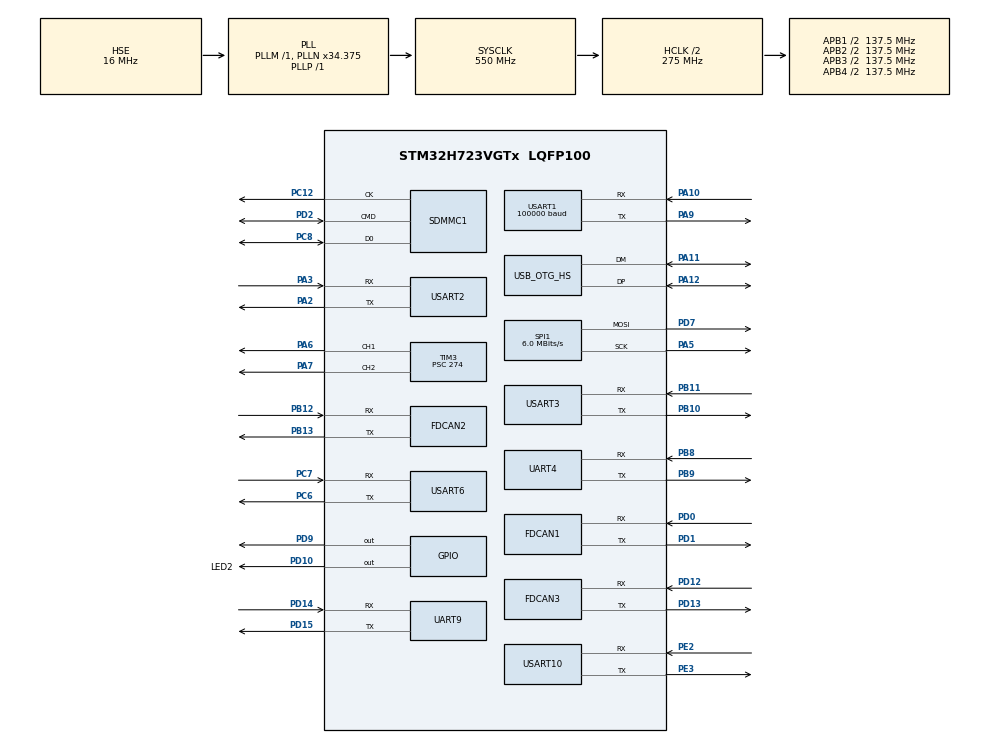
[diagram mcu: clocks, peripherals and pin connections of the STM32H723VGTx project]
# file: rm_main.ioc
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CORTEX_M7.AccessPermission-Cortex_Memory_Protection_Unit_Region0_Settings=MPU_REGION_FULL_ACCESS
CORTEX_M7.BaseAddress-Cortex_Memory_Protection_Unit_Region0_Settings=0x24000000
CORTEX_M7.CPU_DCache=Disabled
CORTEX_M7.CPU_ICache=Disabled
CORTEX_M7.Enable-Cortex_Memory_Protection_Unit_Region0_Settings=MPU_REGION_ENABLE
CORTEX_M7.IsBufferable-Cortex_Memory_Protection_Unit_Region0_Settings=MPU_ACCESS_NOT_BUFFERABLE
CORTEX_M7.IsCacheable-Cortex_Memory_Protection_Unit_Region0_Settings=MPU_ACCESS_CACHEABLE
CORTEX_M7.MPU_Control=__NULL
CORTEX_M7.Size-Cortex_Memory_Protection_Unit_Region0_Settings=MPU_REGION_SIZE_512KB
CORTEX_M7.TypeExtField-Cortex_Memory_Protection_Unit_Region0_Settings=MPU_TEX_LEVEL1
Dma.Request0=USART2_RX
Dma.Request1=USART2_TX
Dma.Request10=USART3_TX
Dma.Request11=UART4_RX
Dma.Request12=UART4_TX
Dma.Request2=USART1_RX
Dma.Request3=USART1_TX
Dma.Request4=USART10_RX
Dma.Request5=USART10_TX
Dma.Request6=SPI1_TX
Dma.Request7=UART9_RX
Dma.Request8=UART9_TX
Dma.Request9=USART3_RX
Dma.SPI1_TX.6.Direction=DMA_MEMORY_TO_PERIPH
Dma.SPI1_TX.6.EventEnable=DISABLE
Dma.SPI1_TX.6.FIFOMode=DMA_FIFOMODE_DISABLE
Dma.SPI1_TX.6.Instance=DMA2_Stream2
Dma.SPI1_TX.6.MemDataAlignment=DMA_MDATAALIGN_BYTE
Dma.SPI1_TX.6.MemInc=DMA_MINC_ENABLE
Dma.SPI1_TX.6.Mode=DMA_NORMAL
Dma.SPI1_TX.6.PeriphDataAlignment=DMA_PDATAALIGN_BYTE
Dma.SPI1_TX.6.PeriphInc=DMA_PINC_DISABLE
Dma.SPI1_TX.6.Polarity=HAL_DMAMUX_REQ_GEN_RISING
Dma.SPI1_TX.6.Priority=DMA_PRIORITY_LOW
Dma.SPI1_TX.6.RequestNumber=1
Dma.SPI1_TX.6.SignalID=NONE
Dma.SPI1_TX.6.SyncEnable=DISABLE
Dma.SPI1_TX.6.SyncPolarity=HAL_DMAMUX_SYNC_NO_EVENT
Dma.SPI1_TX.6.SyncRequestNumber=1
Dma.SPI1_TX.6.SyncSignalID=NONE
Dma.UART4_RX.11.Direction=DMA_PERIPH_TO_MEMORY
Dma.UART4_RX.11.EventEnable=DISABLE
Dma.UART4_RX.11.FIFOMode=DMA_FIFOMODE_DISABLE
Dma.UART4_RX.11.Instance=DMA2_Stream3
Dma.UART4_RX.11.MemDataAlignment=DMA_MDATAALIGN_BYTE
Dma.UART4_RX.11.MemInc=DMA_MINC_ENABLE
Dma.UART4_RX.11.Mode=DMA_NORMAL
Dma.UART4_RX.11.PeriphDataAlignment=DMA_PDATAALIGN_BYTE
Dma.UART4_RX.11.PeriphInc=DMA_PINC_DISABLE
Dma.UART4_RX.11.Polarity=HAL_DMAMUX_REQ_GEN_RISING
Dma.UART4_RX.11.Priority=DMA_PRIORITY_LOW
Dma.UART4_RX.11.RequestNumber=1
Dma.UART4_RX.11.SignalID=NONE
Dma.UART4_RX.11.SyncEnable=DISABLE
Dma.UART4_RX.11.SyncPolarity=HAL_DMAMUX_SYNC_NO_EVENT
Dma.UART4_RX.11.SyncRequestNumber=1
Dma.UART4_RX.11.SyncSignalID=NONE
Dma.UART4_TX.12.Direction=DMA_MEMORY_TO_PERIPH
Dma.UART4_TX.12.EventEnable=DISABLE
Dma.UART4_TX.12.FIFOMode=DMA_FIFOMODE_DISABLE
Dma.UART4_TX.12.Instance=DMA2_Stream4
Dma.UART4_TX.12.MemDataAlignment=DMA_MDATAALIGN_BYTE
Dma.UART4_TX.12.MemInc=DMA_MINC_ENABLE
Dma.UART4_TX.12.Mode=DMA_NORMAL
Dma.UART4_TX.12.PeriphDataAlignment=DMA_PDATAALIGN_BYTE
Dma.UART4_TX.12.PeriphInc=DMA_PINC_DISABLE
Dma.UART4_TX.12.Polarity=HAL_DMAMUX_REQ_GEN_RISING
Dma.UART4_TX.12.Priority=DMA_PRIORITY_LOW
Dma.UART4_TX.12.RequestNumber=1
Dma.UART4_TX.12.SignalID=NONE
Dma.UART4_TX.12.SyncEnable=DISABLE
Dma.UART4_TX.12.SyncPolarity=HAL_DMAMUX_SYNC_NO_EVENT
Dma.UART4_TX.12.SyncRequestNumber=1
Dma.UART4_TX.12.SyncSignalID=NONE
Dma.UART9_RX.7.Direction=DMA_PERIPH_TO_MEMORY
Dma.UART9_RX.7.EventEnable=DISABLE
Dma.UART9_RX.7.FIFOMode=DMA_FIFOMODE_DISABLE
Dma.UART9_RX.7.Instance=DMA2_Stream5
Dma.UART9_RX.7.MemDataAlignment=DMA_MDATAALIGN_BYTE
Dma.UART9_RX.7.MemInc=DMA_MINC_ENABLE
Dma.UART9_RX.7.Mode=DMA_NORMAL
Dma.UART9_RX.7.PeriphDataAlignment=DMA_PDATAALIGN_BYTE
Dma.UART9_RX.7.PeriphInc=DMA_PINC_DISABLE
Dma.UART9_RX.7.Polarity=HAL_DMAMUX_REQ_GEN_RISING
Dma.UART9_RX.7.Priority=DMA_PRIORITY_LOW
Dma.UART9_RX.7.RequestNumber=1
Dma.UART9_RX.7.SignalID=NONE
Dma.UART9_RX.7.SyncEnable=DISABLE
Dma.UART9_RX.7.SyncPolarity=HAL_DMAMUX_SYNC_NO_EVENT
Dma.UART9_RX.7.SyncRequestNumber=1
Dma.UART9_RX.7.SyncSignalID=NONE
Dma.UART9_TX.8.Direction=DMA_MEMORY_TO_PERIPH
Dma.UART9_TX.8.EventEnable=DISABLE
Dma.UART9_TX.8.FIFOMode=DMA_FIFOMODE_DISABLE
Dma.UART9_TX.8.Instance=DMA2_Stream6
Dma.UART9_TX.8.MemDataAlignment=DMA_MDATAALIGN_BYTE
Dma.UART9_TX.8.MemInc=DMA_MINC_ENABLE
Dma.UART9_TX.8.Mode=DMA_NORMAL
Dma.UART9_TX.8.PeriphDataAlignment=DMA_PDATAALIGN_BYTE
Dma.UART9_TX.8.PeriphInc=DMA_PINC_DISABLE
Dma.UART9_TX.8.Polarity=HAL_DMAMUX_REQ_GEN_RISING
Dma.UART9_TX.8.Priority=DMA_PRIORITY_LOW
Dma.UART9_TX.8.RequestNumber=1
Dma.UART9_TX.8.SignalID=NONE
Dma.UART9_TX.8.SyncEnable=DISABLE
Dma.UART9_TX.8.SyncPolarity=HAL_DMAMUX_SYNC_NO_EVENT
Dma.UART9_TX.8.SyncRequestNumber=1
Dma.UART9_TX.8.SyncSignalID=NONE
Dma.USART10_RX.4.Direction=DMA_PERIPH_TO_MEMORY
Dma.USART10_RX.4.EventEnable=DISABLE
Dma.USART10_RX.4.FIFOMode=DMA_FIFOMODE_DISABLE
Dma.USART10_RX.4.Instance=DMA2_Stream0
Dma.USART10_RX.4.MemDataAlignment=DMA_MDATAALIGN_BYTE
Dma.USART10_RX.4.MemInc=DMA_MINC_ENABLE
Dma.USART10_RX.4.Mode=DMA_CIRCULAR
Dma.USART10_RX.4.PeriphDataAlignment=DMA_PDATAALIGN_BYTE
Dma.USART10_RX.4.PeriphInc=DMA_PINC_DISABLE
Dma.USART10_RX.4.Polarity=HAL_DMAMUX_REQ_GEN_RISING
Dma.USART10_RX.4.Priority=DMA_PRIORITY_LOW
Dma.USART10_RX.4.RequestNumber=1
Dma.USART10_RX.4.SignalID=NONE
Dma.USART10_RX.4.SyncEnable=DISABLE
Dma.USART10_RX.4.SyncPolarity=HAL_DMAMUX_SYNC_NO_EVENT
Dma.USART10_RX.4.SyncRequestNumber=1
Dma.USART10_RX.4.SyncSignalID=NONE
Dma.USART10_TX.5.Direction=DMA_MEMORY_TO_PERIPH
Dma.USART10_TX.5.EventEnable=DISABLE
Dma.USART10_TX.5.FIFOMode=DMA_FIFOMODE_DISABLE
Dma.USART10_TX.5.Instance=DMA2_Stream1
Dma.USART10_TX.5.MemDataAlignment=DMA_MDATAALIGN_BYTE
Dma.USART10_TX.5.MemInc=DMA_MINC_ENABLE
Dma.USART10_TX.5.Mode=DMA_NORMAL
Dma.USART10_TX.5.PeriphDataAlignment=DMA_PDATAALIGN_BYTE
Dma.USART10_TX.5.PeriphInc=DMA_PINC_DISABLE
Dma.USART10_TX.5.Polarity=HAL_DMAMUX_REQ_GEN_RISING
Dma.USART10_TX.5.Priority=DMA_PRIORITY_LOW
Dma.USART10_TX.5.RequestNumber=1
Dma.USART10_TX.5.SignalID=NONE
Dma.USART10_TX.5.SyncEnable=DISABLE
Dma.USART10_TX.5.SyncPolarity=HAL_DMAMUX_SYNC_NO_EVENT
Dma.USART10_TX.5.SyncRequestNumber=1
Dma.USART10_TX.5.SyncSignalID=NONE
Dma.USART1_RX.2.Direction=DMA_PERIPH_TO_MEMORY
Dma.USART1_RX.2.EventEnable=DISABLE
Dma.USART1_RX.2.FIFOMode=DMA_FIFOMODE_DISABLE
Dma.USART1_RX.2.Instance=DMA1_Stream2
Dma.USART1_RX.2.MemDataAlignment=DMA_MDATAALIGN_BYTE
Dma.USART1_RX.2.MemInc=DMA_MINC_ENABLE
Dma.USART1_RX.2.Mode=DMA_CIRCULAR
Dma.USART1_RX.2.PeriphDataAlignment=DMA_PDATAALIGN_BYTE
Dma.USART1_RX.2.PeriphInc=DMA_PINC_DISABLE
Dma.USART1_RX.2.Polarity=HAL_DMAMUX_REQ_GEN_RISING
Dma.USART1_RX.2.Priority=DMA_PRIORITY_LOW
Dma.USART1_RX.2.RequestNumber=1
Dma.USART1_RX.2.SignalID=NONE
Dma.USART1_RX.2.SyncEnable=DISABLE
Dma.USART1_RX.2.SyncPolarity=HAL_DMAMUX_SYNC_NO_EVENT
Dma.USART1_RX.2.SyncRequestNumber=1
Dma.USART1_RX.2.SyncSignalID=NONE
Dma.USART1_TX.3.Direction=DMA_MEMORY_TO_PERIPH
Dma.USART1_TX.3.EventEnable=DISABLE
Dma.USART1_TX.3.FIFOMode=DMA_FIFOMODE_DISABLE
Dma.USART1_TX.3.Instance=DMA1_Stream3
Dma.USART1_TX.3.MemDataAlignment=DMA_MDATAALIGN_BYTE
Dma.USART1_TX.3.MemInc=DMA_MINC_ENABLE
Dma.USART1_TX.3.Mode=DMA_NORMAL
Dma.USART1_TX.3.PeriphDataAlignment=DMA_PDATAALIGN_BYTE
Dma.USART1_TX.3.PeriphInc=DMA_PINC_DISABLE
Dma.USART1_TX.3.Polarity=HAL_DMAMUX_REQ_GEN_RISING
Dma.USART1_TX.3.Priority=DMA_PRIORITY_LOW
Dma.USART1_TX.3.RequestNumber=1
Dma.USART1_TX.3.SignalID=NONE
Dma.USART1_TX.3.SyncEnable=DISABLE
Dma.USART1_TX.3.SyncPolarity=HAL_DMAMUX_SYNC_NO_EVENT
Dma.USART1_TX.3.SyncRequestNumber=1
Dma.USART1_TX.3.SyncSignalID=NONE
Dma.USART2_RX.0.Direction=DMA_PERIPH_TO_MEMORY
Dma.USART2_RX.0.EventEnable=DISABLE
Dma.USART2_RX.0.FIFOMode=DMA_FIFOMODE_DISABLE
Dma.USART2_RX.0.Instance=DMA1_Stream0
Dma.USART2_RX.0.MemDataAlignment=DMA_MDATAALIGN_BYTE
Dma.USART2_RX.0.MemInc=DMA_MINC_ENABLE
Dma.USART2_RX.0.Mode=DMA_CIRCULAR
Dma.USART2_RX.0.PeriphDataAlignment=DMA_PDATAALIGN_BYTE
Dma.USART2_RX.0.PeriphInc=DMA_PINC_DISABLE
Dma.USART2_RX.0.Polarity=HAL_DMAMUX_REQ_GEN_RISING
Dma.USART2_RX.0.Priority=DMA_PRIORITY_LOW
Dma.USART2_RX.0.RequestNumber=1
Dma.USART2_RX.0.SignalID=NONE
Dma.USART2_RX.0.SyncEnable=DISABLE
Dma.USART2_RX.0.SyncPolarity=HAL_DMAMUX_SYNC_NO_EVENT
Dma.USART2_RX.0.SyncRequestNumber=1
Dma.USART2_RX.0.SyncSignalID=NONE
Dma.USART2_TX.1.Direction=DMA_MEMORY_TO_PERIPH
Dma.USART2_TX.1.EventEnable=DISABLE
Dma.USART2_TX.1.FIFOMode=DMA_FIFOMODE_DISABLE
Dma.USART2_TX.1.Instance=DMA1_Stream1
Dma.USART2_TX.1.MemDataAlignment=DMA_MDATAALIGN_BYTE
Dma.USART2_TX.1.MemInc=DMA_MINC_ENABLE
Dma.USART2_TX.1.Mode=DMA_NORMAL
Dma.USART2_TX.1.PeriphDataAlignment=DMA_PDATAALIGN_BYTE
Dma.USART2_TX.1.PeriphInc=DMA_PINC_DISABLE
Dma.USART2_TX.1.Polarity=HAL_DMAMUX_REQ_GEN_RISING
Dma.USART2_TX.1.Priority=DMA_PRIORITY_LOW
Dma.USART2_TX.1.RequestNumber=1
Dma.USART2_TX.1.SignalID=NONE
Dma.USART2_TX.1.SyncEnable=DISABLE
Dma.USART2_TX.1.SyncPolarity=HAL_DMAMUX_SYNC_NO_EVENT
Dma.USART2_TX.1.SyncRequestNumber=1
Dma.USART2_TX.1.SyncSignalID=NONE
Dma.USART3_RX.9.Direction=DMA_PERIPH_TO_MEMORY
Dma.USART3_RX.9.EventEnable=DISABLE
Dma.USART3_RX.9.FIFOMode=DMA_FIFOMODE_DISABLE
Dma.USART3_RX.9.Instance=DMA1_Stream5
Dma.USART3_RX.9.MemDataAlignment=DMA_MDATAALIGN_BYTE
Dma.USART3_RX.9.MemInc=DMA_MINC_ENABLE
Dma.USART3_RX.9.Mode=DMA_NORMAL
Dma.USART3_RX.9.PeriphDataAlignment=DMA_PDATAALIGN_BYTE
Dma.USART3_RX.9.PeriphInc=DMA_PINC_DISABLE
Dma.USART3_RX.9.Polarity=HAL_DMAMUX_REQ_GEN_RISING
Dma.USART3_RX.9.Priority=DMA_PRIORITY_LOW
Dma.USART3_RX.9.RequestNumber=1
Dma.USART3_RX.9.SignalID=NONE
Dma.USART3_RX.9.SyncEnable=DISABLE
Dma.USART3_RX.9.SyncPolarity=HAL_DMAMUX_SYNC_NO_EVENT
Dma.USART3_RX.9.SyncRequestNumber=1
Dma.USART3_RX.9.SyncSignalID=NONE
Dma.USART3_TX.10.Direction=DMA_MEMORY_TO_PERIPH
Dma.USART3_TX.10.EventEnable=DISABLE
Dma.USART3_TX.10.FIFOMode=DMA_FIFOMODE_DISABLE
Dma.USART3_TX.10.Instance=DMA1_Stream6
Dma.USART3_TX.10.MemDataAlignment=DMA_MDATAALIGN_BYTE
Dma.USART3_TX.10.MemInc=DMA_MINC_ENABLE
Dma.USART3_TX.10.Mode=DMA_NORMAL
Dma.USART3_TX.10.PeriphDataAlignment=DMA_PDATAALIGN_BYTE
Dma.USART3_TX.10.PeriphInc=DMA_PINC_DISABLE
Dma.USART3_TX.10.Polarity=HAL_DMAMUX_REQ_GEN_RISING
Dma.USART3_TX.10.Priority=DMA_PRIORITY_LOW
Dma.USART3_TX.10.RequestNumber=1
Dma.USART3_TX.10.SignalID=NONE
Dma.USART3_TX.10.SyncEnable=DISABLE
Dma.USART3_TX.10.SyncPolarity=HAL_DMAMUX_SYNC_NO_EVENT
Dma.USART3_TX.10.SyncRequestNumber=1
Dma.USART3_TX.10.SyncSignalID=NONE
FATFS._CODE_PAGE=437
FATFS._USE_LFN=3
FDCAN1.AutoRetransmission=ENABLE
FDCAN1.CalculateBaudRateNominal=1000000
FDCAN1.CalculateTimeBitNominal=1000
FDCAN1.CalculateTimeQuantumNominal=83.33333333333333
FDCAN1.DataSyncJumpWidth=1
FDCAN1.DataTimeSeg1=13
FDCAN1.DataTimeSeg2=2
FDCAN1.Mode=FDCAN_MODE_NORMAL
FDCAN1.NominalPrescaler=8
FDCAN1.NominalSyncJumpWidth=1
FDCAN1.NominalTimeSeg1=8
FDCAN1.NominalTimeSeg2=3
FDCAN1.ProtocolException=ENABLE
FDCAN1.RxFifo0ElmtsNbr=64
FDCAN1.RxFifo1ElmtsNbr=64
FDCAN1.StdFiltersNbr=5
FDCAN1.TxFifoQueueElmtsNbr=32
FDCAN2.AutoRetransmission=ENABLE
FDCAN2.CalculateBaudRateNominal=1000000
FDCAN2.CalculateTimeBitNominal=1000
FDCAN2.CalculateTimeQuantumNominal=83.33333333333333
FDCAN2.ClockCalibrationCCU=DISABLE
FDCAN2.DataPrescaler=4
FDCAN2.DataTimeSeg1=8
FDCAN2.DataTimeSeg2=3
FDCAN2.FrameFormat=FDCAN_FRAME_FD_BRS
FDCAN2.MessageRAMOffset=850
FDCAN2.NominalPrescaler=8
FDCAN2.NominalTimeSeg1=8
FDCAN2.NominalTimeSeg2=3
FDCAN2.ProtocolException=ENABLE
FDCAN2.RxBufferSize=FDCAN_DATA_BYTES_64
FDCAN2.RxFifo0ElmtSize=FDCAN_DATA_BYTES_64
FDCAN2.RxFifo0ElmtsNbr=8
FDCAN2.RxFifo1ElmtSize=FDCAN_DATA_BYTES_64
FDCAN2.RxFifo1ElmtsNbr=8
FDCAN2.StdFiltersNbr=5
FDCAN2.TxElmtSize=FDCAN_DATA_BYTES_64
FDCAN2.TxFifoQueueElmtsNbr=4
FDCAN3.AutoRetransmission=DISABLE
FDCAN3.CalculateBaudRateNominal=1000000
FDCAN3.CalculateTimeBitNominal=1000
FDCAN3.CalculateTimeQuantumNominal=83.33333333333333
FDCAN3.DataPrescaler=4
FDCAN3.DataTimeSeg1=8
FDCAN3.DataTimeSeg2=3
FDCAN3.FrameFormat=FDCAN_FRAME_CLASSIC
FDCAN3.MessageRAMOffset=1700
FDCAN3.Mode=FDCAN_MODE_NORMAL
FDCAN3.NominalPrescaler=8
FDCAN3.NominalTimeSeg1=8
FDCAN3.NominalTimeSeg2=3
FDCAN3.ProtocolException=ENABLE
FDCAN3.RxBufferSize=FDCAN_DATA_BYTES_8
FDCAN3.RxFifo0ElmtSize=FDCAN_DATA_BYTES_8
FDCAN3.RxFifo0ElmtsNbr=64
FDCAN3.RxFifo1ElmtSize=FDCAN_DATA_BYTES_8
FDCAN3.RxFifo1ElmtsNbr=64
FDCAN3.StdFiltersNbr=5
FDCAN3.TxElmtSize=FDCAN_DATA_BYTES_8
FDCAN3.TxFifoQueueElmtsNbr=32
FREERTOS.INCLUDE_vTaskDelayUntil=1
FREERTOS.Tasks01=StartTask,-2,128,start_task,As weak,NULL,Dynamic,NULL,NULL
FREERTOS.configENABLE_FPU=0
FREERTOS.configRECORD_STACK_HIGH_ADDRESS=1
FREERTOS.configTOTAL_HEAP_SIZE=30720
FREERTOS.configUSE_PREEMPTION=1
FREERTOS.configUSE_TIMERS=1
IWDG1.Prescaler=IWDG_PRESCALER_32
IWDG1.Reload=500
IWDG1.Window=4095
Mcu.Family=STM32H7
Mcu.Name=STM32H723VGTx
Mcu.Package=LQFP100
NVIC.DMA1_Stream0_IRQn=true\:5\:0\:false\:false\:true\:true\:false\:true\:true
NVIC.DMA1_Stream1_IRQn=true\:5\:0\:false\:false\:true\:true\:false\:true\:true
NVIC.DMA1_Stream2_IRQn=true\:5\:0\:false\:false\:true\:true\:false\:true\:true
NVIC.DMA1_Stream3_IRQn=true\:5\:0\:false\:false\:true\:true\:false\:true\:true
NVIC.DMA1_Stream5_IRQn=true\:5\:0\:false\:false\:true\:true\:false\:true\:true
NVIC.DMA1_Stream6_IRQn=true\:5\:0\:false\:false\:true\:true\:false\:true\:true
NVIC.DMA2_Stream0_IRQn=true\:5\:0\:false\:false\:true\:true\:false\:true\:true
NVIC.DMA2_Stream1_IRQn=true\:5\:0\:false\:false\:true\:true\:false\:true\:true
NVIC.DMA2_Stream2_IRQn=true\:5\:0\:false\:false\:true\:true\:false\:true\:true
NVIC.DMA2_Stream3_IRQn=true\:5\:0\:false\:false\:true\:true\:false\:true\:true
NVIC.DMA2_Stream4_IRQn=true\:5\:0\:false\:false\:true\:true\:false\:true\:true
NVIC.DMA2_Stream5_IRQn=true\:5\:0\:false\:false\:true\:true\:false\:true\:true
NVIC.DMA2_Stream6_IRQn=true\:5\:0\:false\:false\:true\:true\:false\:true\:true
NVIC.FDCAN1_IT0_IRQn=true\:5\:0\:false\:false\:true\:true\:true\:true\:true
NVIC.FDCAN2_IT0_IRQn=true\:5\:0\:false\:false\:true\:true\:true\:true\:true
NVIC.FDCAN3_IT0_IRQn=true\:5\:0\:false\:false\:true\:true\:true\:true\:true
NVIC.OTG_HS_EP1_IN_IRQn=true\:5\:0\:false\:false\:true\:true\:true\:true\:true
NVIC.OTG_HS_EP1_OUT_IRQn=true\:5\:0\:false\:false\:true\:true\:true\:true\:true
NVIC.OTG_HS_IRQn=true\:5\:0\:false\:false\:true\:true\:true\:true\:true
NVIC.PriorityGroup=NVIC_PRIORITYGROUP_4
NVIC.SDMMC1_IRQn=true\:5\:0\:false\:false\:true\:true\:true\:true\:true
NVIC.SPI1_IRQn=true\:5\:0\:false\:false\:true\:true\:false\:true\:true
NVIC.TIM1_UP_IRQn=true\:15\:0\:false\:false\:true\:false\:false\:true\:true
NVIC.TIM2_IRQn=true\:5\:0\:false\:false\:true\:true\:true\:true\:true
NVIC.TimeBase=TIM1_UP_IRQn
NVIC.TimeBaseIP=TIM1
NVIC.UART4_IRQn=true\:5\:0\:false\:false\:true\:true\:true\:true\:true
NVIC.UART9_IRQn=true\:5\:0\:false\:false\:true\:true\:true\:true\:true
NVIC.USART10_IRQn=true\:5\:0\:false\:false\:true\:true\:true\:true\:true
NVIC.USART1_IRQn=true\:5\:0\:false\:false\:true\:true\:true\:true\:true
NVIC.USART2_IRQn=true\:5\:0\:false\:false\:true\:true\:true\:true\:true
NVIC.USART3_IRQn=true\:5\:0\:false\:false\:true\:true\:true\:true\:true
PA10.Mode=Asynchronous
PA10.Signal=USART1_RX
PA11.Mode=Device_Only_FS
PA11.Signal=USB_OTG_HS_DM
PA12.Mode=Device_Only_FS
PA12.Signal=USB_OTG_HS_DP
PA13(JTMS/SWDIO).Mode=Serial_Wire
PA13(JTMS/SWDIO).Signal=DEBUG_JTMS-SWDIO
PA14(JTCK/SWCLK).Mode=Serial_Wire
PA14(JTCK/SWCLK).Signal=DEBUG_JTCK-SWCLK
PA2.Mode=Asynchronous
PA2.Signal=USART2_TX
PA3.Mode=Asynchronous
PA3.Signal=USART2_RX
PA5.Mode=TX_Only_Simplex_Unidirect_Master
PA5.Signal=SPI1_SCK
PA6.Signal=S_TIM3_CH1
PA7.Signal=S_TIM3_CH2
PA9.Mode=Asynchronous
PA9.Signal=USART1_TX
PB10.Mode=Asynchronous
PB10.Signal=USART3_TX
PB11.Mode=Asynchronous
PB11.Signal=USART3_RX
PB12.Mode=FDCAN_Activate
PB12.Signal=FDCAN2_RX
PB13.Mode=FDCAN_Activate
PB13.Signal=FDCAN2_TX
PB8.Mode=Asynchronous
PB8.Signal=UART4_RX
PB9.Mode=Asynchronous
PB9.Signal=UART4_TX
PC12.Mode=SD_1_bit
PC12.Signal=SDMMC1_CK
PC6.Mode=Asynchronous
PC6.Signal=USART6_TX
PC7.Mode=Asynchronous
PC7.Signal=USART6_RX
PC8.Mode=SD_1_bit
PC8.Signal=SDMMC1_D0
PD0.Mode=FDCAN_Activate
PD0.Signal=FDCAN1_RX
PD1.Mode=FDCAN_Activate
PD1.Signal=FDCAN1_TX
PD10.GPIO_Label=LED2
PD10.Signal=GPIO_Output
PD12.Mode=FDCAN_Activate
PD12.Signal=FDCAN3_RX
PD13.Mode=FDCAN_Activate
PD13.Signal=FDCAN3_TX
PD14.Mode=Asynchronous
PD14.Signal=UART9_RX
PD15.Mode=Asynchronous
PD15.Signal=UART9_TX
PD2.Mode=SD_1_bit
PD2.Signal=SDMMC1_CMD
PD7.Mode=TX_Only_Simplex_Unidirect_Master
PD7.Signal=SPI1_MOSI
PD9.Signal=GPIO_Output
PE2.Mode=Asynchronous
PE2.Signal=USART10_RX
PE3.Mode=Asynchronous
PE3.Signal=USART10_TX
PH0-OSC_IN.Mode=HSE-External-Oscillator
PH0-OSC_IN.Signal=RCC_OSC_IN
PH1-OSC_OUT.Mode=HSE-External-Oscillator
PH1-OSC_OUT.Signal=RCC_OSC_OUT
ProjectManager.HeapSize=0x3000
ProjectManager.StackSize=0x3000
ProjectManager.TargetToolchain=MDK-ARM V5.27
RCC.ADCFreq_Value=96000000
RCC.APB1Freq_Value=137500000
RCC.APB2Freq_Value=137500000
RCC.APB3Freq_Value=137500000
RCC.APB4Freq_Value=137500000
RCC.CortexFreq_Value=550000000
RCC.D1PPRE=RCC_APB3_DIV2
RCC.D2PPRE1=RCC_APB1_DIV2
RCC.D2PPRE2=RCC_APB2_DIV2
RCC.D3PPRE=RCC_APB4_DIV2
RCC.DIVM1=1
RCC.DIVM2=1
RCC.DIVN1=34
RCC.DIVN2=12
RCC.DIVP1=1
RCC.DIVQ1=55
RCC.DIVR1=1
RCC.EnbaleCSS=true
RCC.FDCANCLockSelection=RCC_FDCANCLKSOURCE_PLL2
RCC.HCLKFreq_Value=275000000
RCC.HPRE=RCC_HCLK_DIV2
RCC.HSE_VALUE=16000000
RCC.PLL2FRACN=0
RCC.PLL3FRACN=0
RCC.PLLFRACN=3072
RCC.PLLSourceVirtual=RCC_PLLSOURCE_HSE
RCC.RTCClockSelection=RCC_RTCCLKSOURCE_LSE
RCC.SDMMC1CLockSelection=RCC_SDMMCCLKSOURCE_PLL2
RCC.SPI123CLockSelection=RCC_SPI123CLKSOURCE_PLL2
RCC.SYSCLKFreq_VALUE=550000000
RCC.SYSCLKSource=RCC_SYSCLKSOURCE_PLLCLK
RCC.USBCLockSelection=RCC_USBCLKSOURCE_HSI48
RCC.USBFreq_Value=48000000
SDMMC1.ClockDiv=1
SDMMC1.HardwareFlowControl=SDMMC_HARDWARE_FLOW_CONTROL_DISABLE
SH.S_TIM3_CH1.0=TIM3_CH1,PWM Generation1 CH1
SH.S_TIM3_CH2.0=TIM3_CH2,PWM Generation2 CH2
SPI1.BaudRatePrescaler=SPI_BAUDRATEPRESCALER_16
SPI1.CLKPhase=SPI_PHASE_2EDGE
SPI1.CalculateBaudRate=6.0 MBits/s
SPI1.DataSize=SPI_DATASIZE_8BIT
SPI1.Direction=SPI_DIRECTION_2LINES_TXONLY
SPI1.Mode=SPI_MODE_MASTER
SPI1.VirtualType=VM_MASTER
TIM2.Period=0xFFFFFFFF
TIM2.Prescaler=10
TIM3.Channel-PWM\ Generation1\ CH1=TIM_CHANNEL_1
TIM3.Channel-PWM\ Generation2\ CH2=TIM_CHANNEL_2
TIM3.Period=19999
TIM3.Prescaler=274
USART1.BaudRate=100000
USART1.Parity=PARITY_EVEN
USART1.VirtualMode-Asynchronous=VM_ASYNC
USART1.WordLength=WORDLENGTH_9B
USART10.VirtualMode=VM_ASYNC
USART2.AutoBaudRateEnableParam=UART_ADVFEATURE_AUTOBAUDRATE_DISABLE
USART2.VirtualMode-Asynchronous=VM_ASYNC
USART3.VirtualMode-Asynchronous=VM_ASYNC
USART6.VirtualMode=VM_ASYNC
USB_DEVICE.APP_RX_DATA_SIZE=2048
USB_DEVICE.APP_TX_DATA_SIZE=2048
USB_DEVICE.CLASS_NAME_HS=CDC
USB_DEVICE.USBD_DEBUG_LEVEL=0
USB_DEVICE.USBD_LPM_ENABLED=1
USB_DEVICE.USBD_SELF_POWERED=1
USB_DEVICE.VirtualMode=Cdc
USB_DEVICE.VirtualModeHS=Cdc_HS
USB_OTG_HS.VirtualMode-Device_Only_FS=Device_Only_FS
USB_OTG_HS.dma_enable-Device_Only_FS=ENABLE
USB_OTG_HS.lpm_enable-Device_Only_FS=DISABLE
VP_FATFS_VS_SDIO.Mode=SDIO
VP_FREERTOS_VS_CMSIS_V1.Mode=CMSIS_V1
VP_IWDG1_VS_IWDG.Mode=IWDG_Activate
VP_MEMORYMAP_VS_MEMORYMAP.Mode=CurAppReg
VP_RNG_VS_RNG.Mode=RNG_Activate
VP_SYS_VS_tim1.Mode=TIM1
VP_TIM2_VS_ClockSourceINT.Mode=Internal
VP_USB_DEVICE_VS_USB_DEVICE_CDC_HS.Mode=CDC_HS
board=custom

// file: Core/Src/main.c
/* USER CODE BEGIN Header */
/**
  ******************************************************************************
  * @file           : main.c
  * @brief          : Main program body
  ******************************************************************************
  * @attention
  *
  * <h2><center>&copy; Copyright (c) 2024 STMicroelectronics.
  * All rights reserved.</center></h2>
  *
  * This software component is licensed by ST under Ultimate Liberty license
  * SLA0044, the "License"; You may not use this file except in compliance with
  * the License. You may obtain a copy of the License at:
  *                             www.st.com/SLA0044
  *
  ******************************************************************************
  */
/* USER CODE END Header */
#include "main.h"
#include "cmsis_os.h"
#include "dma.h"
#include "fatfs.h"
#include "fdcan.h"
#include "rng.h"
#include "sdmmc.h"
#include "spi.h"
#include "tim.h"
#include "usart.h"
#include "usb_device.h"
#include "gpio.h"

/* USER CODE BEGIN Includes */
#include "us_time.h"
#include "data_log.h"
#include "can_comm.h"
#include "usart_comm.h"
#include "container.h"
/* USER CODE END Includes */

/* USER CODE BEGIN PM */
uint32_t cnt;
/* USER CODE END PM */

void SystemClock_Config(void);
void PeriphCommonClock_Config(void);
void MX_FREERTOS_Init(void);
/* USER CODE BEGIN PFP */
void USB_Reset(void);

/* USER CODE END PFP */

int main(void)
{

  /* MCU Configuration--------------------------------------------------------*/

  /* Reset of all peripherals, Initializes the Flash interface and the Systick. */
  HAL_Init();

  /* Configure the system clock */
  SystemClock_Config();

  /* Configure the peripherals common clocks */
  PeriphCommonClock_Config();

  /* USER CODE BEGIN SysInit */
  USB_Reset();//USB复位，让电脑重新识别
  HAL_Delay(100);
  /* USER CODE END SysInit */

  /* Initialize all configured peripherals */
  MX_GPIO_Init();
  MX_DMA_Init();
  MX_USART2_UART_Init();
  MX_USART1_UART_Init();
  MX_RNG_Init();
  MX_TIM2_Init();
  MX_FDCAN3_Init();
  MX_UART9_Init();
  MX_USART6_UART_Init();
  MX_USART10_UART_Init();
  MX_FDCAN1_Init();
  MX_FDCAN2_Init();
  MX_TIM3_Init();
  MX_SPI1_Init();
  MX_USART3_UART_Init();
  MX_UART4_Init();
  MX_SDMMC1_SD_Init();
  MX_FATFS_Init();
  /* USER CODE BEGIN 2 */
  HAL_Delay(300);
  us_timer_start();
  usart_comm_init();
//  can_comm_init();
  HAL_Delay(300);

  container_sys_init();
  /* USER CODE END 2 */

  /* Call init function for freertos objects (in cmsis_os2.c) */
  MX_FREERTOS_Init();

  /* Start scheduler */
  osKernelStart();

  /* We should never get here as control is now taken by the scheduler */

  /* Infinite loop */
  while (1)
  {

    /* USER CODE BEGIN 3 */
//      cnt++;
//      HAL_Delay(1);
  }
  /* USER CODE END 3 */
}

void SystemClock_Config(void)
{
  RCC_OscInitTypeDef RCC_OscInitStruct = {0};
  RCC_ClkInitTypeDef RCC_ClkInitStruct = {0};

  /** Supply configuration update enable
  */
  HAL_PWREx_ConfigSupply(PWR_LDO_SUPPLY);

  /** Configure the main internal regulator output voltage
  */
  __HAL_PWR_VOLTAGESCALING_CONFIG(PWR_REGULATOR_VOLTAGE_SCALE0);

  while(!__HAL_PWR_GET_FLAG(PWR_FLAG_VOSRDY)) {}

  /** Initializes the RCC Oscillators according to the specified parameters
  * in the RCC_OscInitTypeDef structure.
  */
  RCC_OscInitStruct.OscillatorType = RCC_OSCILLATORTYPE_HSI48|RCC_OSCILLATORTYPE_LSI
                              |RCC_OSCILLATORTYPE_HSE;
  RCC_OscInitStruct.HSEState = RCC_HSE_ON;
  RCC_OscInitStruct.LSIState = RCC_LSI_ON;
  RCC_OscInitStruct.HSI48State = RCC_HSI48_ON;
  RCC_OscInitStruct.PLL.PLLState = RCC_PLL_ON;
  RCC_OscInitStruct.PLL.PLLSource = RCC_PLLSOURCE_HSE;
  RCC_OscInitStruct.PLL.PLLM = 1;
  RCC_OscInitStruct.PLL.PLLN = 34;
  RCC_OscInitStruct.PLL.PLLP = 1;
  RCC_OscInitStruct.PLL.PLLQ = 55;
  RCC_OscInitStruct.PLL.PLLR = 1;
  RCC_OscInitStruct.PLL.PLLRGE = RCC_PLL1VCIRANGE_3;
  RCC_OscInitStruct.PLL.PLLVCOSEL = RCC_PLL1VCOWIDE;
  RCC_OscInitStruct.PLL.PLLFRACN = 3072;
  if (HAL_RCC_OscConfig(&RCC_OscInitStruct) != HAL_OK)
  {
    Error_Handler();
  }

  /** Initializes the CPU, AHB and APB buses clocks
  */
  RCC_ClkInitStruct.ClockType = RCC_CLOCKTYPE_HCLK|RCC_CLOCKTYPE_SYSCLK
                              |RCC_CLOCKTYPE_PCLK1|RCC_CLOCKTYPE_PCLK2
                              |RCC_CLOCKTYPE_D3PCLK1|RCC_CLOCKTYPE_D1PCLK1;
  RCC_ClkInitStruct.SYSCLKSource = RCC_SYSCLKSOURCE_PLLCLK;
  RCC_ClkInitStruct.SYSCLKDivider = RCC_SYSCLK_DIV1;
  RCC_ClkInitStruct.AHBCLKDivider = RCC_HCLK_DIV2;
  RCC_ClkInitStruct.APB3CLKDivider = RCC_APB3_DIV2;
  RCC_ClkInitStruct.APB1CLKDivider = RCC_APB1_DIV2;
  RCC_ClkInitStruct.APB2CLKDivider = RCC_APB2_DIV2;
  RCC_ClkInitStruct.APB4CLKDivider = RCC_APB4_DIV2;

  if (HAL_RCC_ClockConfig(&RCC_ClkInitStruct, FLASH_LATENCY_3) != HAL_OK)
  {
    Error_Handler();
  }

  /** Enables the Clock Security System
  */
  HAL_RCC_EnableCSS();
}

void PeriphCommonClock_Config(void)
{
  RCC_PeriphCLKInitTypeDef PeriphClkInitStruct = {0};

  /** Initializes the peripherals clock
  */
  PeriphClkInitStruct.PeriphClockSelection = RCC_PERIPHCLK_SDMMC|RCC_PERIPHCLK_SPI1
                              |RCC_PERIPHCLK_FDCAN;
  PeriphClkInitStruct.PLL2.PLL2M = 1;
  PeriphClkInitStruct.PLL2.PLL2N = 12;
  PeriphClkInitStruct.PLL2.PLL2P = 2;
  PeriphClkInitStruct.PLL2.PLL2Q = 2;
  PeriphClkInitStruct.PLL2.PLL2R = 2;
  PeriphClkInitStruct.PLL2.PLL2RGE = RCC_PLL2VCIRANGE_3;
  PeriphClkInitStruct.PLL2.PLL2VCOSEL = RCC_PLL2VCOWIDE;
  PeriphClkInitStruct.PLL2.PLL2FRACN = 0;
  PeriphClkInitStruct.SdmmcClockSelection = RCC_SDMMCCLKSOURCE_PLL2;
  PeriphClkInitStruct.Spi123ClockSelection = RCC_SPI123CLKSOURCE_PLL2;
  PeriphClkInitStruct.FdcanClockSelection = RCC_FDCANCLKSOURCE_PLL2;
  if (HAL_RCCEx_PeriphCLKConfig(&PeriphClkInitStruct) != HAL_OK)
  {
    Error_Handler();
  }
}

/* USER CODE BEGIN 4 */
void USB_Reset(void)
{
	GPIO_InitTypeDef GPIO_InitStruct = {0};
	__HAL_RCC_GPIOA_CLK_ENABLE();
	GPIO_InitStruct.Pin = GPIO_PIN_12;
	GPIO_InitStruct.Mode = GPIO_MODE_OUTPUT_PP;
	GPIO_InitStruct.Pull = GPIO_PULLDOWN;
	GPIO_InitStruct.Speed = GPIO_SPEED_FREQ_LOW;
	HAL_GPIO_Init(GPIOA, &GPIO_InitStruct);
	HAL_GPIO_WritePin(GPIOA, GPIO_PIN_12, GPIO_PIN_RESET);
	HAL_Delay(100);
	HAL_GPIO_WritePin(GPIOA, GPIO_PIN_12, GPIO_PIN_SET);
}
/* USER CODE END 4 */

void HAL_TIM_PeriodElapsedCallback(TIM_HandleTypeDef *htim)
{
  if (htim->Instance == TIM1) {
    HAL_IncTick();
  }
  /* USER CODE BEGIN Callback 1 */
	if (htim->Instance == TIM2)
	{
		prv_us_time.overflow_cnt++;
	}
  /* USER CODE END Callback 1 */
}

void Error_Handler(void)
{
  __disable_irq();
  while (1)
  {
  }
}

#ifdef  USE_FULL_ASSERT
/**
  * @brief  Reports the name of the source file and the source line number
  *         where the assert_param error has occurred.
  * @param  file: pointer to the source file name
  * @param  line: assert_param error line source number
  * @retval None
  */
void assert_failed(uint8_t *file, uint32_t line)
{
  /* USER CODE BEGIN 6 */
  /* User can add his own implementation to report the file name and line number,
     ex: printf("Wrong parameters value: file %s on line %d\r\n", file, line) */
//    log_printf("[%s,%d]assert_failed!\r\n", file, line);
  /* USER CODE END 6 */
}
#endif /* USE_FULL_ASSERT */

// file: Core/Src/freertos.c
/* USER CODE BEGIN Header */
/**
  ******************************************************************************
  * File Name          : freertos.c
  * Description        : Code for freertos applications
  ******************************************************************************
  * @attention
  *
  * <h2><center>&copy; Copyright (c) 2024 STMicroelectronics.
  * All rights reserved.</center></h2>
  *
  * This software component is licensed by ST under Ultimate Liberty license
  * SLA0044, the "License"; You may not use this file except in compliance with
  * the License. You may obtain a copy of the License at:
  *                             www.st.com/SLA0044
  *
  ******************************************************************************
  */
/* USER CODE END Header */

#include "FreeRTOS.h"
#include "task.h"
#include "main.h"
#include "cmsis_os.h"

/* USER CODE BEGIN Includes */
#include "comm_task.h"
#include "mode_switch_task.h"
#include "status_task.h"
#include "gimbal_task.h"
#include "chassis_task.h"
#include "shoot_task.h"
#include "debug_task.h"
#include "ui_task.h"
#include "tim.h"
#include "board_comm_task.h"
#include "container_task.h"
#include  "recorder.h"
/* USER CODE END Includes */

/* USER CODE BEGIN Variables */
osThreadId CommTaskHandle;
osThreadId ModeSwitchTaskHandle;
osThreadId StatusTaskHandle;
osThreadId ChassisTaskHandle;
osThreadId GimbalTaskHandle;
osThreadId ShootTaskHandle;
osThreadId UITaskHandle;
osThreadId DebugTaskHandle;
osThreadId BoardCommTaskHandle;
osThreadId ContainerTaskHandle;
osThreadId tskdTaskHandle;
/* USER CODE END Variables */
osThreadId StartTaskHandle;

/* USER CODE BEGIN FunctionPrototypes */
extern void tskd_Task(const void *argu);

/* USER CODE END FunctionPrototypes */

void start_task(void const * argument);

extern void MX_USB_DEVICE_Init(void);
void MX_FREERTOS_Init(void); /* (MISRA C 2004 rule 8.1) */

/* GetIdleTaskMemory prototype (linked to static allocation support) */
void vApplicationGetIdleTaskMemory( StaticTask_t **ppxIdleTaskTCBBuffer, StackType_t **ppxIdleTaskStackBuffer, uint32_t *pulIdleTaskStackSize );

/* GetTimerTaskMemory prototype (linked to static allocation support) */
void vApplicationGetTimerTaskMemory( StaticTask_t **ppxTimerTaskTCBBuffer, StackType_t **ppxTimerTaskStackBuffer, uint32_t *pulTimerTaskStackSize );

/* USER CODE BEGIN GET_IDLE_TASK_MEMORY */
static StaticTask_t xIdleTaskTCBBuffer;
static StackType_t xIdleStack[configMINIMAL_STACK_SIZE];

void vApplicationGetIdleTaskMemory( StaticTask_t **ppxIdleTaskTCBBuffer, StackType_t **ppxIdleTaskStackBuffer, uint32_t *pulIdleTaskStackSize )
{
  *ppxIdleTaskTCBBuffer = &xIdleTaskTCBBuffer;
  *ppxIdleTaskStackBuffer = &xIdleStack[0];
  *pulIdleTaskStackSize = configMINIMAL_STACK_SIZE;
  /* place for user code */
}
/* USER CODE END GET_IDLE_TASK_MEMORY */

/* USER CODE BEGIN GET_TIMER_TASK_MEMORY */
static StaticTask_t xTimerTaskTCBBuffer;
static StackType_t xTimerStack[configTIMER_TASK_STACK_DEPTH];

void vApplicationGetTimerTaskMemory( StaticTask_t **ppxTimerTaskTCBBuffer, StackType_t **ppxTimerTaskStackBuffer, uint32_t *pulTimerTaskStackSize )
{
  *ppxTimerTaskTCBBuffer = &xTimerTaskTCBBuffer;
  *ppxTimerTaskStackBuffer = &xTimerStack[0];
  *pulTimerTaskStackSize = configTIMER_TASK_STACK_DEPTH;
  /* place for user code */
}
/* USER CODE END GET_TIMER_TASK_MEMORY */

void MX_FREERTOS_Init(void) {

  /* Create the thread(s) */
  /* definition and creation of StartTask */
  osThreadDef(StartTask, start_task, osPriorityLow, 0, 128);
  StartTaskHandle = osThreadCreate(osThread(StartTask), NULL);

  /* USER CODE BEGIN RTOS_THREADS */
  /* add threads, ... */
  osThreadDef(STATUSTask, status_task, osPriorityLow, 0, 128);
  StatusTaskHandle = osThreadCreate(osThread(STATUSTask), NULL);

  osThreadDef(CommTask, comm_task, osPriorityHigh, 0, 256);
  CommTaskHandle = osThreadCreate(osThread(CommTask), NULL);

  osThreadDef(ModeSwitchTask, mode_switch_task, osPriorityHigh, 0, 128);
  ModeSwitchTaskHandle = osThreadCreate(osThread(ModeSwitchTask), NULL);

  osThreadDef(ChassisTask, chassis_task, osPriorityNormal, 0, 512);
  ChassisTaskHandle = osThreadCreate(osThread(ChassisTask), NULL);

  osThreadDef(GimbalTask, gimbal_task, osPriorityNormal, 0, 256);
  GimbalTaskHandle = osThreadCreate(osThread(GimbalTask), NULL);

  osThreadDef(ShootTask, shoot_task, osPriorityNormal, 0, 128);
  ShootTaskHandle = osThreadCreate(osThread(ShootTask), NULL);

  osThreadDef(DebugTask, debug_task, osPriorityLow, 0, 512);
  DebugTaskHandle = osThreadCreate(osThread(DebugTask), NULL);

  osThreadDef(UITask, ui_task, osPriorityLow, 0, 512);
  UITaskHandle = osThreadCreate(osThread(UITask), NULL);

  osThreadDef(BoardCommTask, board_comm_task, osPriorityHigh, 0, 256);
  BoardCommTaskHandle = osThreadCreate(osThread(BoardCommTask), NULL);

  osThreadDef(ContainerTask, container_task, osPriorityLow, 0, 256);
  ContainerTaskHandle = osThreadCreate(osThread(ContainerTask), NULL);

	osThreadDef(tskdTask, tskd_Task, osPriorityLow, 0, 2560);
  tskdTaskHandle = osThreadCreate(osThread(tskdTask), NULL);
  /* USER CODE END RTOS_THREADS */

}

__weak void start_task(void const * argument)
{
  /* init code for USB_DEVICE */
  MX_USB_DEVICE_Init();
  /* USER CODE BEGIN start_task */
  /* Infinite loop */
  for(;;)
  {
      osDelay(10);
  }
  /* USER CODE END start_task */
}
